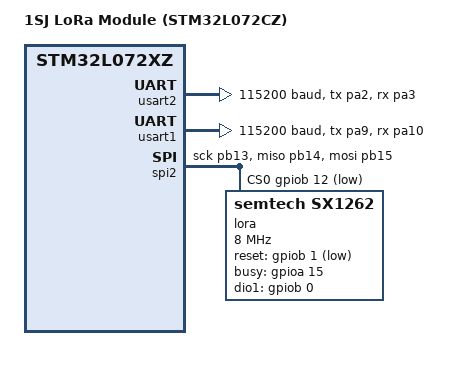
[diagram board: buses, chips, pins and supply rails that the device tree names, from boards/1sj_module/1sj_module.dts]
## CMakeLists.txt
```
cmake_minimum_required(VERSION 3.20.0)

# Expose local boards/ directory as an out-of-tree board root
list(APPEND BOARD_ROOT ${CMAKE_CURRENT_LIST_DIR})

find_package(Zephyr REQUIRED HINTS $ENV{ZEPHYR_BASE})
project(1sj_shell)

target_sources(app PRIVATE
	src/main.c
	src/task_lora.c
	src/task_smp_uart.c
	src/smp_mgmt.c
)
```

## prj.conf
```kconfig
# Shell over UART (PA2=TX, PA3=RX via USART2)
CONFIG_SHELL=y
CONFIG_SHELL_BACKEND_SERIAL=y
CONFIG_SHELL_PROMPT_UART="lora:~$ "

# Kernel log output to shell
CONFIG_LOG=y
CONFIG_LOG_BACKEND_UART=n
CONFIG_LOG_BUFFER_SIZE=512

# Shell RAM budget (STM32L072CZ has only 20 KiB RAM)
CONFIG_SHELL_STACK_SIZE=1536
CONFIG_SHELL_HISTORY_BUFFER=128
CONFIG_SHELL_CMD_BUFF_SIZE=128

# Kernel shell commands (uptime, threads, etc.)
CONFIG_KERNEL_SHELL=y
CONFIG_DEVICE_SHELL=y

# Debug build: debug symbols + debug-friendly optimization (-Og)
CONFIG_DEBUG_OPTIMIZATIONS=y
CONFIG_DEBUG_INFO=y

# SPI bus + LoRa subsystem for SX1262
CONFIG_SPI=y
CONFIG_LORA=y
CONFIG_LORA_LOG_LEVEL_INF=y
CONFIG_LORA_SX126X=y

CONFIG_REBOOT=y

# ── SMP coprocessor interface (USART1: PA9=TX, PA10=RX, 921600 baud) ─────────
# MCUMgr SMP over UART — handles structured commands from the main MCU.
# The chosen node zephyr,uart-mcumgr = &usart1 selects the physical interface.
CONFIG_MCUMGR=y
CONFIG_MCUMGR_LOG_LEVEL_DBG=y
CONFIG_MCUMGR_TRANSPORT_UART=y
# MTU must be <= NETBUF_SIZE + 2; 128 fits in 130-byte headroom
CONFIG_MCUMGR_TRANSPORT_UART_MTU=128
# MCUMGR_TRANSPORT_UART_ASYNC is NOT set — use interrupt-driven mode (matches defconfig)
# Net buf pool: 2 × 128 B = 256 B (default 4 × 384 = 1536 B)
CONFIG_MCUMGR_TRANSPORT_NETBUF_COUNT=2
CONFIG_MCUMGR_TRANSPORT_NETBUF_SIZE=128
CONFIG_NET_BUF=y
CONFIG_BASE64=y
CONFIG_CRC=y
CONFIG_ZCBOR=y
CONFIG_ZCBOR_STOP_ON_ERROR=y
# Built-in OS group: exposes uptime/reset over SMP (optional, ~1 kB flash)
CONFIG_MCUMGR_GRP_OS=y

# ── SMP command notification hooks (task_smp_uart.c) ─────────────────────────
# Enables mgmt_callback_register() and the MGMT_EVT_OP_CMD_RECV event.
CONFIG_MCUMGR_MGMT_NOTIFICATION_HOOKS=y
CONFIG_MCUMGR_SMP_COMMAND_STATUS_HOOKS=y

CONFIG_LORA_LOG_LEVEL_DBG=y
```

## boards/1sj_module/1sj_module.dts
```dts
/*
 * Copyright (c) 2024
 * SPDX-License-Identifier: Apache-2.0
 *
 * 1SJ LoRa Module — STM32L072CZ + SX1262
 * Shell UART: USART2 on PA2 (TX) / PA3 (RX), AF4
 */

/dts-v1/;
#include <st/l0/stm32l072Xz.dtsi>
#include <zephyr/dt-bindings/pinctrl/stm32-pinctrl.h>
#include <zephyr/dt-bindings/input/input-event-codes.h>
#include <zephyr/dt-bindings/lora/sx126x.h>

/ {
	model = "1SJ LoRa Module (STM32L072CZ)";
	compatible = "custom,lora-module-l072cz";

	chosen {
		zephyr,console    = &usart2;
		zephyr,shell-uart = &usart2;
		zephyr,uart-mcumgr = &usart1;   /* SMP coprocessor interface */
		zephyr,sram       = &sram0;
		zephyr,flash      = &flash0;
	};

};

/* ── Clocks ─────────────────────────────────────────────────────── */

&clk_hsi {
	/* 16 MHz internal RC → PLL → 32 MHz system clock */
	status = "okay";
};

&pll {
	div = <2>;
	mul = <4>;
	clocks = <&clk_hsi>;
	status = "okay";
};

&rcc {
	clocks = <&pll>;
	clock-frequency = <DT_FREQ_M(32)>;
	ahb-prescaler = <1>;
	apb1-prescaler = <1>;
	apb2-prescaler = <1>;
};

/* ── Pinctrl (inline — no external pinctrl DTSI required) ───────── */

&pinctrl {
	usart2_tx_pa2: usart2_tx_pa2 {
		pinmux = <STM32_PINMUX('A', 2, AF4)>;
	};
	usart2_rx_pa3: usart2_rx_pa3 {
		pinmux = <STM32_PINMUX('A', 3, AF4)>;
		bias-disable;
	};

	/* USART1: PA9=TX, PA10=RX (AF4 on STM32L072) — SMP coprocessor interface */
	usart1_tx_pa9: usart1_tx_pa9 {
		pinmux = <STM32_PINMUX('A', 9, AF4)>;
	};
	usart1_rx_pa10: usart1_rx_pa10 {
		pinmux = <STM32_PINMUX('A', 10, AF4)>;
		bias-disable;
	};

	/* SPI2: PB13=SCK, PB14=MISO, PB15=MOSI  (AF0 on STM32L072) */
	spi2_sck_pb13: spi2_sck_pb13 {
		pinmux = <STM32_PINMUX('B', 13, AF0)>;
		slew-rate = "very-high-speed";
	};
	spi2_miso_pb14: spi2_miso_pb14 {
		pinmux = <STM32_PINMUX('B', 14, AF0)>;
	};
	spi2_mosi_pb15: spi2_mosi_pb15 {
		pinmux = <STM32_PINMUX('B', 15, AF0)>;
		slew-rate = "very-high-speed";
	};
};

/* ── USART2: shell / console on PA2/PA3 ─────────────────────────── */

&usart2 {
	pinctrl-0 = <&usart2_tx_pa2 &usart2_rx_pa3>;
	pinctrl-names = "default";
	current-speed = <115200>;
	status = "okay";
};

/* ── USART1: SMP coprocessor interface on PA9/PA10 ──────────────── */

&usart1 {
	pinctrl-0 = <&usart1_tx_pa9 &usart1_rx_pa10>;
	pinctrl-names = "default";
	current-speed = <115200>;
	status = "okay";
};

/* ── SPI2: SX1262 LoRa transceiver ──────────────────────────────── */
/*
 * PB12 = NSS (software CS, active-low)
 * PB13 = SCK, PB14 = MISO, PB15 = MOSI
 * All internal — not exposed on module header.
 */

&spi2 {
	pinctrl-0 = <&spi2_sck_pb13 &spi2_miso_pb14 &spi2_mosi_pb15>;
	pinctrl-names = "default";
	cs-gpios = <&gpiob 12 GPIO_ACTIVE_LOW>;
	status = "okay";

	lora: lora@0 {
		compatible = "semtech,sx1262";
		reg = <0>;
		spi-max-frequency = <8000000>;
		reset-gpios = <&gpiob 1 GPIO_ACTIVE_LOW>;
		busy-gpios  = <&gpioa 15 GPIO_ACTIVE_HIGH>;
		dio1-gpios  = <&gpiob 0 GPIO_ACTIVE_HIGH>;
		dio2-tx-enable;
		dio3-tcxo-voltage = <SX126X_DIO3_TCXO_3V3>;
		tcxo-power-startup-delay-ms = <20>;
	};
};

/* ── Flash partitions ────────────────────────────────────────────── */

&flash0 {
	partitions {
		compatible = "fixed-partitions";
		#address-cells = <1>;
		#size-cells = <1>;

		/* 32 KiB NVS storage at end of 192 KiB flash */
		storage_partition: partition@28000 {
			label = "storage";
			reg = <0x00028000 DT_SIZE_K(32)>;
		};
	};
};
```

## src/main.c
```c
#include <zephyr/kernel.h>
#include <zephyr/shell/shell.h>

/* Example custom shell command */
static int cmd_hello(const struct shell *sh, size_t argc, char **argv)
{
	ARG_UNUSED(argc);
	ARG_UNUSED(argv);
	shell_print(sh, "Hello from STM32L072CZ!");
	return 0;
}

SHELL_CMD_REGISTER(hello, NULL, "Print a greeting", cmd_hello);

int main(void)
{
	/* Shell starts automatically via Zephyr kernel on USART2 (PA2/PA3) */
	return 0;
}
```

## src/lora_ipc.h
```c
/*
 * lora_ipc.h — LoRa inter-task message types and queue declarations.
 *
 * task_lora.c owns the LoRa device and defines both queues.
 * task_smp_uart.c is the sole producer of lora_cmd_q and sole consumer
 * of lora_evt_q.
 *
 *   lora_cmd_q  (SMP → LoRa)  LORA_CMD_TX / RX_ENABLE / RX_DISABLE
 *   lora_evt_q  (LoRa → SMP)  LORA_EVT_RX
 */
#pragma once

#include <zephyr/kernel.h>
#include <zephyr/drivers/lora.h>
#include <stdbool.h>
#include <stdint.h>

#define LORA_MAX_PAYLOAD 255

/* ── Commands: SMP → LoRa task ───────────────────────────────────── */

enum lora_cmd_type {
	LORA_CMD_TX,
	LORA_CMD_RX_ENABLE,
	LORA_CMD_RX_DISABLE,
};

/*
 * Synchronisation block for TX commands.  Allocated on the sender's
 * stack; the LoRa task writes rc/bytes_sent then gives the semaphore.
 * The sender must remain blocked on done until the semaphore is given.
 */
struct lora_tx_sync {
	struct k_sem done;
	int          rc;
	uint16_t     bytes_sent;
};

struct lora_cmd_msg {
	enum lora_cmd_type   type;
	uint8_t              tx_data[LORA_MAX_PAYLOAD]; /* LORA_CMD_TX only */
	uint16_t             tx_len;                    /* LORA_CMD_TX only */
	struct lora_tx_sync *tx_sync;                   /* LORA_CMD_TX only */
};

/* ── Events: LoRa task → SMP ─────────────────────────────────────── */

enum lora_evt_type {
	LORA_EVT_RX,
};

struct lora_evt_msg {
	enum lora_evt_type type;
	uint8_t  data[LORA_MAX_PAYLOAD];
	int      len;
	int16_t  rssi;
	int8_t   snr;
};

/* ── Status snapshot ─────────────────────────────────────────────── */

struct lora_status {
	uint32_t frequency;
	uint8_t  datarate;
	uint8_t  bandwidth;
	uint8_t  coding_rate;
	uint16_t preamble_len;
	int8_t   tx_power;
	bool     rx_active;
};

/* ── Queues defined in task_lora.c ───────────────────────────────── */

extern struct k_msgq lora_cmd_q;
extern struct k_msgq lora_evt_q;

/* Returns a consistent snapshot of the current modem config and RX state. */
void lora_get_current_status(struct lora_status *out);
```

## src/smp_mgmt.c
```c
/*
 * smp_mgmt.c — MCUmgr custom group 64 (LORA_SMP_GRP) handlers.
 *
 * The SMP framework opens an outer CBOR map before calling each handler and
 * closes it after.  Handlers must NOT call zcbor_map_start/end_encode — they
 * just emit key-value pairs directly into the already-open map.
 *
 * Command map:
 *   0  READ   get_version  → {version:<str>, board:<str>}
 *   1  READ   get_status   → {freq, sf, bw_khz, cr, preamble, tx_power, rx_active}
 *   2  WRITE  rx_enable    → {rc:<int>}
 *   3  WRITE  rx_disable   → {rc:<int>}
 *   4  WRITE  tx_msg  ←{msg:<str>}  → {rc:<int>, bytes_sent:<uint>}
 */

#include <string.h>
#include <zephyr/kernel.h>
#include <zephyr/logging/log.h>

#include <zephyr/mgmt/mcumgr/mgmt/mgmt.h>
#include <zephyr/mgmt/mcumgr/mgmt/handlers.h>
#include <zephyr/mgmt/mcumgr/smp/smp.h>

#include <zcbor_common.h>
#include <zcbor_decode.h>
#include <zcbor_encode.h>

#include "lora_ipc.h"

LOG_MODULE_REGISTER(smp_mgmt, LOG_LEVEL_DBG);

#define LORA_SMP_GRP  64  /* MGMT_GROUP_ID_PERUSER */

/* ── Helpers ─────────────────────────────────────────────────────── */

static uint16_t bw_enum_to_khz(uint8_t bw)
{
	switch (bw) {
	case BW_125_KHZ: return 125;
	case BW_250_KHZ: return 250;
	case BW_500_KHZ: return 500;
	default:         return 0;
	}
}

/* ── Command 0: get_version (READ) ───────────────────────────────── */

static int cmd_get_version(struct smp_streamer *ctxt)
{
	zcbor_state_t *zse = ctxt->writer->zs;

	/* Framework already opened the outer map; just emit key-value pairs. */
	bool ok = zcbor_tstr_put_lit(zse, "version") &&
		  zcbor_tstr_put_lit(zse, "1.0.0") &&
		  zcbor_tstr_put_lit(zse, "board") &&
		  zcbor_tstr_put_lit(zse, "1sj_module");

	return ok ? MGMT_ERR_EOK : MGMT_ERR_EMSGSIZE;
}

/* ── Command 1: get_status (READ) ────────────────────────────────── */

static int cmd_get_status(struct smp_streamer *ctxt)
{
	zcbor_state_t *zse = ctxt->writer->zs;
	struct lora_status st;

	lora_get_current_status(&st);

	bool ok = zcbor_tstr_put_lit(zse, "freq") &&
		  zcbor_uint32_put(zse, st.frequency) &&
		  zcbor_tstr_put_lit(zse, "sf") &&
		  zcbor_uint32_put(zse, st.datarate) &&
		  zcbor_tstr_put_lit(zse, "bw_khz") &&
		  zcbor_uint32_put(zse, bw_enum_to_khz(st.bandwidth)) &&
		  zcbor_tstr_put_lit(zse, "cr") &&
		  zcbor_uint32_put(zse, (uint32_t)(st.coding_rate + 4)) &&
		  zcbor_tstr_put_lit(zse, "preamble") &&
		  zcbor_uint32_put(zse, st.preamble_len) &&
		  zcbor_tstr_put_lit(zse, "tx_power") &&
		  zcbor_int32_put(zse, st.tx_power) &&
		  zcbor_tstr_put_lit(zse, "rx_active") &&
		  zcbor_bool_put(zse, st.rx_active);

	return ok ? MGMT_ERR_EOK : MGMT_ERR_EMSGSIZE;
}

/* ── Command 2: rx_enable (WRITE) ────────────────────────────────── */

static int cmd_rx_enable(struct smp_streamer *ctxt)
{
	struct lora_cmd_msg cmd = { .type = LORA_CMD_RX_ENABLE };
	int ret = k_msgq_put(&lora_cmd_q, &cmd, K_MSEC(100));

	if (ret != 0) {
		LOG_WRN("rx_enable: lora_cmd_q full (%d)", ret);
	}

	zcbor_state_t *zse = ctxt->writer->zs;
	bool ok = zcbor_tstr_put_lit(zse, "rc") &&
		  zcbor_int32_put(zse, ret);

	return ok ? MGMT_ERR_EOK : MGMT_ERR_EMSGSIZE;
}

/* ── Command 3: rx_disable (WRITE) ──────────────────────────────── */

static int cmd_rx_disable(struct smp_streamer *ctxt)
{
	struct lora_cmd_msg cmd = { .type = LORA_CMD_RX_DISABLE };
	int ret = k_msgq_put(&lora_cmd_q, &cmd, K_MSEC(100));

	if (ret != 0) {
		LOG_WRN("rx_disable: lora_cmd_q full (%d)", ret);
	}

	zcbor_state_t *zse = ctxt->writer->zs;
	bool ok = zcbor_tstr_put_lit(zse, "rc") &&
		  zcbor_int32_put(zse, ret);

	return ok ? MGMT_ERR_EOK : MGMT_ERR_EMSGSIZE;
}

/* ── Command 4: tx_msg (WRITE) ←{msg:<str>} → {rc, bytes_sent} ───── */

static int cmd_tx_msg(struct smp_streamer *ctxt)
{
	zcbor_state_t *zsd = ctxt->reader->zs;
	struct zcbor_string key = {0}, msg_str = {0};
	bool ok;

	/* Decode request {msg: <tstr>}. */
	ok = zcbor_map_start_decode(zsd) &&
	     zcbor_tstr_decode(zsd, &key) &&
	     (key.len == 3 && memcmp(key.value, "msg", 3) == 0) &&
	     zcbor_tstr_decode(zsd, &msg_str);

	if (!ok || msg_str.len == 0) {
		LOG_ERR("tx_msg: failed to decode {msg}");
		return MGMT_ERR_EINVAL;
	}

	zcbor_map_end_decode(zsd);

	uint16_t len = (uint16_t)MIN(msg_str.len, LORA_MAX_PAYLOAD);

	/*
	 * lora_tx_sync lives on this stack frame.  We block on sync.done,
	 * so the frame stays alive until the LoRa task signals completion.
	 */
	struct lora_tx_sync sync;

	k_sem_init(&sync.done, 0, 1);
	sync.rc         = 0;
	sync.bytes_sent = 0;

	struct lora_cmd_msg cmd = {
		.type    = LORA_CMD_TX,
		.tx_len  = len,
		.tx_sync = &sync,
	};
	memcpy(cmd.tx_data, msg_str.value, len);

	int ret = k_msgq_put(&lora_cmd_q, &cmd, K_MSEC(200));

	if (ret != 0) {
		LOG_ERR("tx_msg: lora_cmd_q full (%d)", ret);
	} else {
		/* Block until the LoRa task completes the TX. */
		k_sem_take(&sync.done, K_SECONDS(30));
		ret = sync.rc;
	}

	zcbor_state_t *zse = ctxt->writer->zs;
	bool enc_ok = zcbor_tstr_put_lit(zse, "rc") &&
		      zcbor_int32_put(zse, ret) &&
		      zcbor_tstr_put_lit(zse, "bytes_sent") &&
		      zcbor_uint32_put(zse, (uint32_t)sync.bytes_sent);

	return enc_ok ? MGMT_ERR_EOK : MGMT_ERR_EMSGSIZE;
}

/* ── Handler table ───────────────────────────────────────────────── */

static const struct mgmt_handler lora_smp_handlers[] = {
	[0] = { .mh_read  = cmd_get_version, .mh_write = NULL          },
	[1] = { .mh_read  = cmd_get_status,  .mh_write = NULL          },
	[2] = { .mh_read  = NULL,            .mh_write = cmd_rx_enable  },
	[3] = { .mh_read  = NULL,            .mh_write = cmd_rx_disable },
	[4] = { .mh_read  = NULL,            .mh_write = cmd_tx_msg     },
};

static struct mgmt_group lora_smp_group = {
	.mg_handlers       = lora_smp_handlers,
	.mg_handlers_count = ARRAY_SIZE(lora_smp_handlers),
	.mg_group_id       = LORA_SMP_GRP,
};

int my_mgmt_init(void)
{
	mgmt_register_group(&lora_smp_group);
	LOG_INF("registered MCUmgr group id=%u (%zu commands)",
		lora_smp_group.mg_group_id,
		lora_smp_group.mg_handlers_count);
	return 0;
}
```

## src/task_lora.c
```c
/*
 * task_lora.c — Sole owner of the SX1262 LoRa device.
 *
 * Architecture
 * ────────────
 * A single thread runs a tight loop:
 *   1. Drain lora_cmd_q (non-blocking).
 *   2. If RX is enabled, call lora_recv with a 500 ms timeout.
 *   3. On a successful receive, enqueue an event to lora_evt_q.
 *
 * This gives a worst-case command response latency of ~500 ms, which is
 * acceptable for LoRa data rates.
 *
 * lora_dev_mutex serialises all lora_* API calls between this task and
 * the interactive shell commands below.  Do not use "lora" shell
 * commands concurrently with SMP LoRa RX — the mutex will resolve the
 * conflict but the shell recv will block until the current 500 ms
 * receive cycle finishes.
 *
 * Shell commands (USART2, 115200 baud):
 *   lora status
 *   lora config <freq_hz> <sf:6-12> <bw:125|250|500> <cr:5-8> <preamble> <power_dbm>
 *   lora send <text>
 *   lora recv [timeout_ms]
 *   lora calibrate
 */

#include <stdlib.h>
#include <string.h>
#include <zephyr/kernel.h>
#include <zephyr/device.h>
#include <zephyr/drivers/lora.h>
#include <zephyr/shell/shell.h>
#include <zephyr/logging/log.h>
#include "lora_ipc.h"

/* Forward-declare the LoRaMac-node HAL function to avoid pulling in the
 * full sx126x.h header (which has loramac-node board-level dependencies). */
extern void SX126xCalibrateImage(uint32_t freq);

LOG_MODULE_REGISTER(lora, LOG_LEVEL_DBG);

#define LORA_NODE DT_NODELABEL(lora)
static const struct device *lora_dev = DEVICE_DT_GET(LORA_NODE);

static struct lora_modem_config lora_cfg = {
	.frequency    = 868000000,
	.bandwidth    = BW_125_KHZ,
	.datarate     = SF_10,
	.preamble_len = 8,
	.coding_rate  = CR_4_5,
	.tx_power     = 14,
	.tx           = true,
};

static atomic_t rx_active;

/*
 * Held whenever a lora_* API call is in progress.  Prevents concurrent
 * access between the task thread and shell command handlers.
 */
static K_MUTEX_DEFINE(lora_dev_mutex);

/* ── Message queues ──────────────────────────────────────────────── */

K_MSGQ_DEFINE(lora_cmd_q, sizeof(struct lora_cmd_msg), 2, 4);
K_MSGQ_DEFINE(lora_evt_q, sizeof(struct lora_evt_msg), 2, 4);

/* ── Status accessor ─────────────────────────────────────────────── */

void lora_get_current_status(struct lora_status *out)
{
	k_mutex_lock(&lora_dev_mutex, K_FOREVER);
	out->frequency    = lora_cfg.frequency;
	out->datarate     = (uint8_t)lora_cfg.datarate;
	out->bandwidth    = (uint8_t)lora_cfg.bandwidth;
	out->coding_rate  = (uint8_t)lora_cfg.coding_rate;
	out->preamble_len = lora_cfg.preamble_len;
	out->tx_power     = lora_cfg.tx_power;
	out->rx_active    = atomic_get(&rx_active) != 0;
	k_mutex_unlock(&lora_dev_mutex);
}

/* ── Helpers ─────────────────────────────────────────────────────── */

static const char *bw_str(enum lora_signal_bandwidth bw)
{
	switch (bw) {
	case BW_125_KHZ: return "125";
	case BW_250_KHZ: return "250";
	case BW_500_KHZ: return "500";
	default:         return "?";
	}
}

/* ── Command processing (called from the task thread only) ───────── */

static bool rx_configured; /* true when modem is already set up for RX */

static void process_cmd(struct lora_cmd_msg *cmd)
{
	int ret;

	switch (cmd->type) {
	case LORA_CMD_TX:
		k_mutex_lock(&lora_dev_mutex, K_FOREVER);
		lora_cfg.tx = true;
		ret = lora_config(lora_dev, &lora_cfg);
		if (ret == 0) {
			SX126xCalibrateImage(lora_cfg.frequency);
			k_msleep(100);
			lora_config(lora_dev, &lora_cfg);
			k_msleep(100);

			ret = lora_send(lora_dev, cmd->tx_data, cmd->tx_len);
		}
		k_mutex_unlock(&lora_dev_mutex);

		if (ret == 0) {
			LOG_INF("TX: %u byte(s)", cmd->tx_len);
		} else {
			LOG_ERR("TX failed: %d", ret);
		}

		cmd->tx_sync->rc         = ret;
		cmd->tx_sync->bytes_sent = (ret == 0) ? cmd->tx_len : 0;
		k_sem_give(&cmd->tx_sync->done);
		rx_configured = false; /* modem was switched to TX; re-arm RX next cycle */
		break;

	case LORA_CMD_RX_ENABLE:
		atomic_set(&rx_active, 1);
		rx_configured = false;
		LOG_INF("LoRa RX enabled");
		break;

	case LORA_CMD_RX_DISABLE:
		atomic_set(&rx_active, 0);
		LOG_INF("LoRa RX disabled");
		break;
	}
}

/* ── Main task loop ──────────────────────────────────────────────── */

static void task_lora_entry(void *p1, void *p2, void *p3)
{
	ARG_UNUSED(p1); ARG_UNUSED(p2); ARG_UNUSED(p3);

	if (!device_is_ready(lora_dev)) {
		LOG_ERR("LoRa device not ready");
		return;
	}

	k_mutex_lock(&lora_dev_mutex, K_FOREVER);
	int ret = lora_config(lora_dev, &lora_cfg);
	k_mutex_unlock(&lora_dev_mutex);

	if (ret) {
		LOG_ERR("lora_config failed: %d", ret);
		return;
	}

	LOG_INF("SX1262 ready — %u Hz  SF%u  BW%s kHz  %d dBm",
		lora_cfg.frequency, lora_cfg.datarate,
		bw_str(lora_cfg.bandwidth), lora_cfg.tx_power);

	static uint8_t rx_buf[LORA_MAX_PAYLOAD];

	while (1) {
		/* Always drain the command queue before touching the radio */
		struct lora_cmd_msg cmd;

		while (k_msgq_get(&lora_cmd_q, &cmd, K_NO_WAIT) == 0) {
			process_cmd(&cmd);
		}

		if (!atomic_get(&rx_active)) {
			k_sleep(K_MSEC(10));
			continue;
		}

		/* Configure for RX on first entry or after a TX */
		if (!rx_configured) {
			k_mutex_lock(&lora_dev_mutex, K_FOREVER);
			lora_cfg.tx = false;
			ret = lora_config(lora_dev, &lora_cfg);
			k_mutex_unlock(&lora_dev_mutex);

			if (ret != 0) {
				LOG_ERR("lora_config (RX) failed: %d", ret);
				k_sleep(K_MSEC(100));
				continue;
			}
			rx_configured = true;
			LOG_INF("LoRa RX active — %u Hz SF%u",
				lora_cfg.frequency, lora_cfg.datarate);
		}

		int16_t rssi;
		int8_t  snr;

		/*
		 * 500 ms timeout: short enough to check the command queue
		 * regularly, long enough not to hammer the driver.
		 */
		k_mutex_lock(&lora_dev_mutex, K_FOREVER);
		ret = lora_recv(lora_dev, rx_buf, sizeof(rx_buf),
				K_MSEC(500), &rssi, &snr);
		k_mutex_unlock(&lora_dev_mutex);

		if (ret < 0) {
			if (ret != -EAGAIN) {
				LOG_ERR("lora_recv: %d", ret);
			}
			continue;
		}

		LOG_INF("RX: %d byte(s)  RSSI=%d dBm  SNR=%d dB", ret, rssi, snr);

		struct lora_evt_msg evt = {
			.type = LORA_EVT_RX,
			.len  = ret,
			.rssi = rssi,
			.snr  = snr,
		};
		memcpy(evt.data, rx_buf, ret);

		if (k_msgq_put(&lora_evt_q, &evt, K_NO_WAIT) != 0) {
			LOG_WRN("RX event queue full — packet dropped");
		}
	}
}

K_THREAD_DEFINE(task_lora_tid, 2048,
		task_lora_entry, NULL, NULL, NULL,
		7, 0, 500 /* ms startup delay so shell is up first */);

/* ── Shell commands ──────────────────────────────────────────────── */

static int cmd_lora_status(const struct shell *sh, size_t argc, char **argv)
{
	ARG_UNUSED(argc); ARG_UNUSED(argv);

	shell_print(sh, "Device ready : %s", device_is_ready(lora_dev) ? "yes" : "no");
	shell_print(sh, "RX active    : %s", atomic_get(&rx_active) ? "yes" : "no");
	shell_print(sh, "Frequency    : %u Hz", lora_cfg.frequency);
	shell_print(sh, "Bandwidth    : %s kHz", bw_str(lora_cfg.bandwidth));
	shell_print(sh, "Spreading    : SF%u", lora_cfg.datarate);
	shell_print(sh, "Coding rate  : CR 4/%u", lora_cfg.coding_rate + 4);
	shell_print(sh, "Preamble     : %u symbols", lora_cfg.preamble_len);
	shell_print(sh, "TX power     : %d dBm", lora_cfg.tx_power);
	return 0;
}

/*
 * lora config <freq_hz> <sf> <bw_khz> <cr_denom> <preamble> <power_dbm>
 * Example: lora config 868000000 10 125 5 8 14
 */
static int cmd_lora_config(const struct shell *sh, size_t argc, char **argv)
{
	if (argc < 7) {
		shell_error(sh, "Usage: lora config <freq_hz> <sf:6-12>"
			    " <bw:125|250|500> <cr:5-8> <preamble> <power_dbm>");
		return -EINVAL;
	}

	uint32_t freq  = (uint32_t)strtoul(argv[1], NULL, 10);
	int      sf    = (int)strtoul(argv[2], NULL, 10);
	int      bw    = (int)strtoul(argv[3], NULL, 10);
	int      cr    = (int)strtoul(argv[4], NULL, 10);
	int      pream = (int)strtoul(argv[5], NULL, 10);
	int      pwr   = (int)strtol (argv[6], NULL, 10);

	if (sf < 6 || sf > 12) {
		shell_error(sh, "SF must be 6..12"); return -EINVAL;
	}
	if (bw != 125 && bw != 250 && bw != 500) {
		shell_error(sh, "BW must be 125, 250, or 500"); return -EINVAL;
	}
	if (cr < 5 || cr > 8) {
		shell_error(sh, "CR denominator must be 5..8"); return -EINVAL;
	}

	k_mutex_lock(&lora_dev_mutex, K_FOREVER);
	lora_cfg.frequency    = freq;
	lora_cfg.datarate     = (enum lora_datarate)sf;
	lora_cfg.bandwidth    = (bw == 125) ? BW_125_KHZ
			      : (bw == 250) ? BW_250_KHZ : BW_500_KHZ;
	lora_cfg.coding_rate  = (enum lora_coding_rate)(cr - 4);
	lora_cfg.preamble_len = (uint16_t)pream;
	lora_cfg.tx_power     = (int8_t)pwr;

	int ret = lora_config(lora_dev, &lora_cfg);
	k_mutex_unlock(&lora_dev_mutex);

	if (ret) {
		shell_error(sh, "lora_config failed: %d", ret);
		return ret;
	}
	rx_configured = false; /* force re-arm on next RX cycle */
	shell_print(sh, "Config applied: %u Hz  SF%u  BW%s kHz  CR 4/%u  preamble=%u  %d dBm",
		    lora_cfg.frequency, lora_cfg.datarate,
		    bw_str(lora_cfg.bandwidth), cr, pream, pwr);
	return 0;
}

/* lora send <text> */
static int cmd_lora_send(const struct shell *sh, size_t argc, char **argv)
{
	if (argc < 2) {
		shell_error(sh, "Usage: lora send <text>");
		return -EINVAL;
	}

	k_mutex_lock(&lora_dev_mutex, K_FOREVER);
	lora_cfg.tx = true;
	int ret = lora_config(lora_dev, &lora_cfg);
	if (ret == 0) {
		size_t len = strlen(argv[1]);

		SX126xCalibrateImage(lora_cfg.frequency);
		k_msleep(100);
		lora_config(lora_dev, &lora_cfg);
		k_msleep(100);

		ret = lora_send(lora_dev, (uint8_t *)argv[1], len);
		if (ret == 0) {
			shell_print(sh, "Sent %u byte(s): \"%s\"", (unsigned)len, argv[1]);
		} else {
			shell_error(sh, "lora_send failed: %d", ret);
		}
	} else {
		shell_error(sh, "lora_config failed: %d", ret);
	}
	k_mutex_unlock(&lora_dev_mutex);
	rx_configured = false;
	return ret;
}

/* lora calibrate — run image calibration for the current frequency */
static int cmd_lora_calibrate(const struct shell *sh, size_t argc, char **argv)
{
	ARG_UNUSED(argc); ARG_UNUSED(argv);

	k_mutex_lock(&lora_dev_mutex, K_FOREVER);
	lora_cfg.tx = true;
	int ret = lora_config(lora_dev, &lora_cfg);
	k_mutex_unlock(&lora_dev_mutex);

	if (ret) {
		shell_error(sh, "lora_config failed: %d", ret);
		return ret;
	}

	SX126xCalibrateImage(lora_cfg.frequency);
	shell_print(sh, "Image calibration done for %u Hz", lora_cfg.frequency);
	rx_configured = false;
	return 0;
}

/* lora recv [timeout_ms] — blocks until packet or timeout */
static int cmd_lora_recv(const struct shell *sh, size_t argc, char **argv)
{
	int timeout_ms = (argc >= 2) ? (int)strtoul(argv[1], NULL, 10) : 5000;

	if (atomic_get(&rx_active)) {
		shell_warn(sh, "SMP RX is active; result may be unreliable");
	}

	/* Configure for RX (mutex held only for the config call) */
	k_mutex_lock(&lora_dev_mutex, K_FOREVER);
	lora_cfg.tx = false;
	int ret = lora_config(lora_dev, &lora_cfg);
	k_mutex_unlock(&lora_dev_mutex);

	if (ret) {
		shell_error(sh, "lora_config failed: %d", ret);
		return ret;
	}

	static uint8_t buf[256];
	int16_t rssi;
	int8_t  snr;

	shell_print(sh, "Listening for %d ms...", timeout_ms);

	/*
	 * Mutex is held for the full receive duration to prevent the task
	 * thread from reconfiguring the modem underneath us.
	 */
	k_mutex_lock(&lora_dev_mutex, K_FOREVER);
	ret = lora_recv(lora_dev, buf, sizeof(buf) - 1,
			K_MSEC(timeout_ms), &rssi, &snr);
	k_mutex_unlock(&lora_dev_mutex);

	rx_configured = false;

	if (ret < 0) {
		shell_error(sh, "lora_recv: %d%s", ret,
			    ret == -EAGAIN ? " (timeout)" : "");
		return ret;
	}

	buf[ret] = '\0';
	shell_print(sh, "Received %d byte(s): \"%s\"  RSSI=%d dBm  SNR=%d dB",
		    ret, buf, rssi, snr);
	return 0;
}

SHELL_STATIC_SUBCMD_SET_CREATE(lora_sub,
	SHELL_CMD(status,    NULL,
		  "Show device state and current modem config",
		  cmd_lora_status),
	SHELL_CMD(config,    NULL,
		  "Set modem params: config <freq_hz> <sf> <bw> <cr> <preamble> <power>",
		  cmd_lora_config),
	SHELL_CMD(calibrate, NULL,
		  "Run image calibration for the current frequency",
		  cmd_lora_calibrate),
	SHELL_CMD(send,      NULL,
		  "Transmit a packet: send <text>",
		  cmd_lora_send),
	SHELL_CMD(recv,      NULL,
		  "Receive a packet (blocking): recv [timeout_ms]",
		  cmd_lora_recv),
	SHELL_SUBCMD_SET_END);

SHELL_CMD_REGISTER(lora, &lora_sub, "LoRa transceiver (SX1262)", NULL);
```

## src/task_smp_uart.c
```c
/*
 * task_smp_uart.c — MCUMgr/SMP command observer and LoRa IPC thread.
 *
 * USART1 (PA9=TX, PA10=RX) is driven by the Zephyr uart_mcumgr console
 * driver when CONFIG_MCUMGR_TRANSPORT_UART=y.  That driver installs its own
 * UART IRQ callback, so this task does NOT install a competing one.
 *
 * Instead we use the MCUMgr notification-hook API:
 *   MGMT_EVT_OP_CMD_RECV fires after the transport has decoded and framed
 *   each incoming SMP packet, giving us the command group, id, and opcode.
 *
 * NOTE on payload size: the standard mgmt_evt_op_cmd_arg struct does NOT
 * carry nh_len (SMP header payload length).  To log that field one would need
 * a custom uart_mcumgr receive hook that parses the raw decoded net_buf before
 * dispatch (see uart_mcumgr_register() in uart_mcumgr.h).  For now we log the
 * fields that the callback API exposes.
 *
 * Required prj.conf additions (already set):
 *   CONFIG_MCUMGR_MGMT_NOTIFICATION_HOOKS=y
 *   CONFIG_MCUMGR_SMP_COMMAND_STATUS_HOOKS=y
 */

#include <zephyr/kernel.h>
#include <zephyr/device.h>
#include <zephyr/drivers/uart.h>
#include <zephyr/logging/log.h>
#include <zephyr/mgmt/mcumgr/mgmt/callbacks.h>
#include "lora_ipc.h"

LOG_MODULE_REGISTER(smp_handler, LOG_LEVEL_DBG);

/* USART1 — the SMP coprocessor interface (zephyr,uart-mcumgr in DTS) */
#define SMP_UART_NODE  DT_CHOSEN(zephyr_uart_mcumgr)
static const struct device *smp_uart = DEVICE_DT_GET(SMP_UART_NODE);

extern int my_mgmt_init(void);
/* ── MCUMgr command-receive notification callback ────────────────── */
/*
 * Called from the SMP server work queue after each fully-decoded SMP frame.
 * group  — MGMT_GROUP_ID_OS(0), _IMAGE(1), _FS(8), _SHELL(9), …
 * id     — command index within the group
 * op     — MGMT_OP_READ(0)/MGMT_OP_WRITE(2) (from mgmt_defines.h)
 */
static enum mgmt_cb_return on_smp_cmd_recv(uint32_t event,
					   enum mgmt_cb_return prev_status,
					   int32_t *rc, uint16_t *group,
					   bool *abort_more, void *data,
					   size_t data_size)
{
	ARG_UNUSED(event);
	ARG_UNUSED(prev_status);
	ARG_UNUSED(rc);
	ARG_UNUSED(group);
	ARG_UNUSED(abort_more);

	if (data_size < sizeof(struct mgmt_evt_op_cmd_arg)) {
		return MGMT_CB_OK;
	}

	const struct mgmt_evt_op_cmd_arg *arg = data;

	LOG_DBG("SMP recv: group=0x%04x id=%u op=%u",
		arg->group, arg->id, arg->op);

	return MGMT_CB_OK;
}

static struct mgmt_callback smp_cmd_recv_cb = {
	.callback = on_smp_cmd_recv,
	.event_id = MGMT_EVT_OP_CMD_RECV,
};

/* ── Task thread ──────────────────────────────────────────────────── */

static void task_smp_uart_entry(void *p1, void *p2, void *p3)
{
	ARG_UNUSED(p1);
	ARG_UNUSED(p2);
	ARG_UNUSED(p3);

	if (!device_is_ready(smp_uart)) {
		LOG_ERR("SMP UART %s not ready", smp_uart->name);
		return;
	}
	LOG_INF("SMP UART ready: %s", smp_uart->name);

	/* Register management callback now that the device is confirmed ready */
	mgmt_callback_register(&smp_cmd_recv_cb);
	LOG_INF("SMP CMD_RECV hook registered");
	my_mgmt_init();

	/*
	 * Diagnostic: poll raw bytes from USART1.
	 *
	 * If CONFIG_MCUMGR_TRANSPORT_UART=y initialised correctly,
	 * uart_irq_rx_enable() has been called and the uart_mcumgr ISR
	 * consumes all arriving bytes — uart_poll_in returns -1 immediately
	 * and the loop body never executes.
	 *
	 * If the MCUMgr init failed (smp_transport_init error, net_buf
	 * exhaustion, etc.) the IRQ is NOT armed and uart_poll_in WILL
	 * return bytes here.  Seeing "raw: 0x..." in the log means the
	 * init chain broke and the UART never entered interrupt-driven mode.
	 *
	 * Correct sender framing (SMP-over-UART serial protocol):
	 *   [0x06 0x09] [len_BE16] [base64(smp_hdr+cbor)] [crc16_BE16] [0x0A]
	 * Raw binary SMP frames are silently discarded by the serial parser.
	 */
	unsigned char byte;
	uint32_t raw_count = 0;

	while (uart_poll_in(smp_uart, &byte) == 0) {
		LOG_WRN("raw UART byte (IRQ not armed?): 0x%02x", byte);
		raw_count++;
	}
	if (raw_count == 0) {
		LOG_DBG("uart_poll_in: no bytes — IRQ mode is active (expected)");
	}

	/*
	 * Main loop: drain LoRa events produced by task_lora, and poll
	 * the raw UART as a diagnostic.  If the IRQ handler is active the
	 * uart_poll_in call is a no-op; if it returns bytes the MCUMgr
	 * UART transport never armed its interrupt.
	 */
	while (1) {
		/* ── Raw-byte diagnostic ────────────────────────────────── */
		while (uart_poll_in(smp_uart, &byte) == 0) {
			LOG_WRN("raw rx 0x%02x — MCUMgr IRQ not armed!", byte);
		}

		/* ── LoRa event forwarding ──────────────────────────────── */
		struct lora_evt_msg evt;
		int ret = k_msgq_get(&lora_evt_q, &evt, K_MSEC(100));

		if (ret == 0) {
			LOG_DBG("LoRa evt: type=%d len=%d rssi=%d snr=%d",
				evt.type, evt.len, evt.rssi, evt.snr);
			/* TODO: encode evt as SMP notification and send via
			 * uart_mcumgr_send() */
		}
	}
}

K_THREAD_DEFINE(task_smp_uart_tid, 1024,
		task_smp_uart_entry, NULL, NULL, NULL,
		8, 0, 600 /* ms — start after MCUMgr transport is up */);
```

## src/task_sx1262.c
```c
/*
 * task_sx1262.c — SX1262 LoRa transceiver via Zephyr LoRa API
 *
 * DT node  : lora: lora@0 on spi2 (compatible = "semtech,sx1262")
 * Shell cmds:
 *   lora status
 *   lora config <freq_hz> <sf:6-12> <bw:125|250|500> <cr:5-8> <preamble> <power_dbm>
 *   lora send <text>
 *   lora recv [timeout_ms]
 */

#include <stdlib.h>
#include <string.h>
#include <zephyr/kernel.h>
#include <zephyr/device.h>
#include <zephyr/drivers/lora.h>
#include <zephyr/shell/shell.h>
#include <zephyr/logging/log.h>

/* Forward-declare the LoRaMac-node HAL function to avoid pulling in the full
 * sx126x.h header (which has loramac-node board-level dependencies). */
extern void SX126xCalibrateImage(uint32_t freq);

LOG_MODULE_REGISTER(sx1262, LOG_LEVEL_DBG);

#define LORA_NODE DT_NODELABEL(lora)

static const struct device *lora_dev = DEVICE_DT_GET(LORA_NODE);

/* Working modem config — modified by "lora config" command */
static struct lora_modem_config lora_cfg = {
	.frequency    = 868000000,   /* 868 MHz */
	.bandwidth    = BW_125_KHZ,
	.datarate     = SF_10,
	.preamble_len = 8,
	.coding_rate  = CR_4_5,
	.tx_power     = 14,          /* dBm */
	.tx           = true,
};

/* ── Helpers ─────────────────────────────────────────────────────── */

static const char *bw_str(enum lora_signal_bandwidth bw)
{
	switch (bw) {
	case BW_125_KHZ: return "125";
	case BW_250_KHZ: return "250";
	case BW_500_KHZ: return "500";
	default:         return "?";
	}
}

/* Apply lora_cfg with the requested tx/rx direction. */
static int apply_config(bool tx, const struct shell *sh)
{
	lora_cfg.tx = tx;
	int ret = lora_config(lora_dev, &lora_cfg);
	if (ret && sh) {
		shell_error(sh, "lora_config failed: %d", ret);
	}
	return ret;
}

/* ── Startup thread ──────────────────────────────────────────────── */

static void task_sx1262_entry(void *p1, void *p2, void *p3)
{
	ARG_UNUSED(p1);
	ARG_UNUSED(p2);
	ARG_UNUSED(p3);

	if (!device_is_ready(lora_dev)) {
		LOG_ERR("LoRa device %s not ready", lora_dev->name);
		return;
	}

	int ret = lora_config(lora_dev, &lora_cfg);
	if (ret) {
		LOG_ERR("lora_config failed: %d", ret);
		return;
	}

	LOG_INF("SX1262 ready — %u Hz  SF%u  BW%s kHz  %d dBm",
		lora_cfg.frequency, lora_cfg.datarate,
		bw_str(lora_cfg.bandwidth), lora_cfg.tx_power);

	while (1) {
		k_sleep(K_SECONDS(10));
	}
}

K_THREAD_DEFINE(task_sx1262, 1536,
		task_sx1262_entry, NULL, NULL, NULL,
		7, 0, 500 /* ms delay so shell is up first */);

/* ── Shell commands ──────────────────────────────────────────────── */

static int cmd_lora_status(const struct shell *sh, size_t argc, char **argv)
{
	ARG_UNUSED(argc);
	ARG_UNUSED(argv);

	shell_print(sh, "Device ready : %s", device_is_ready(lora_dev) ? "yes" : "no");
	shell_print(sh, "Frequency    : %u Hz", lora_cfg.frequency);
	shell_print(sh, "Bandwidth    : %s kHz", bw_str(lora_cfg.bandwidth));
	shell_print(sh, "Spreading    : SF%u", lora_cfg.datarate);
	shell_print(sh, "Coding rate  : CR 4/%u", lora_cfg.coding_rate + 4);
	shell_print(sh, "Preamble     : %u symbols", lora_cfg.preamble_len);
	shell_print(sh, "TX power     : %d dBm", lora_cfg.tx_power);
	return 0;
}

/*
 * lora config <freq_hz> <sf> <bw_khz> <cr_denom> <preamble> <power_dbm>
 * Example: lora config 868000000 10 125 5 8 14
 */
static int cmd_lora_config(const struct shell *sh, size_t argc, char **argv)
{
	if (argc < 7) {
		shell_error(sh, "Usage: lora config <freq_hz> <sf:6-12>"
			    " <bw:125|250|500> <cr:5-8> <preamble> <power_dbm>");
		return -EINVAL;
	}

	uint32_t freq  = (uint32_t)strtoul(argv[1], NULL, 10);
	int      sf    = (int)strtoul(argv[2], NULL, 10);
	int      bw    = (int)strtoul(argv[3], NULL, 10);
	int      cr    = (int)strtoul(argv[4], NULL, 10);
	int      pream = (int)strtoul(argv[5], NULL, 10);
	int      pwr   = (int)strtol (argv[6], NULL, 10);

	if (sf < 6 || sf > 12) {
		shell_error(sh, "SF must be 6..12"); return -EINVAL;
	}
	if (bw != 125 && bw != 250 && bw != 500) {
		shell_error(sh, "BW must be 125, 250, or 500"); return -EINVAL;
	}
	if (cr < 5 || cr > 8) {
		shell_error(sh, "CR denominator must be 5..8"); return -EINVAL;
	}

	lora_cfg.frequency    = freq;
	lora_cfg.datarate     = (enum lora_datarate)sf; /* SF_6=6 .. SF_12=12 */
	lora_cfg.bandwidth    = (bw == 125) ? BW_125_KHZ
			      : (bw == 250) ? BW_250_KHZ : BW_500_KHZ;
	lora_cfg.coding_rate  = (enum lora_coding_rate)(cr - 4); /* CR_4_5=1..CR_4_8=4 */
	lora_cfg.preamble_len = (uint16_t)pream;
	lora_cfg.tx_power     = (int8_t)pwr;

	int ret = lora_config(lora_dev, &lora_cfg);
	if (ret) {
		shell_error(sh, "lora_config failed: %d", ret);
		return ret;
	}
	shell_print(sh, "Config applied: %u Hz  SF%u  BW%s kHz  CR 4/%u  preamble=%u  %d dBm",
		    lora_cfg.frequency, lora_cfg.datarate,
		    bw_str(lora_cfg.bandwidth), cr, pream, pwr);
	return 0;
}

/* lora send <text> */
static int cmd_lora_send(const struct shell *sh, size_t argc, char **argv)
{
	if (argc < 2) {
		shell_error(sh, "Usage: lora send <text>");
		return -EINVAL;
	}

	int ret = apply_config(true, sh);
	if (ret) {
		return ret;
	}

	size_t len = strlen(argv[1]);
	ret = lora_send(lora_dev, (uint8_t *)argv[1], len);
	if (ret) {
		shell_error(sh, "lora_send failed: %d", ret);
		return ret;
	}
	shell_print(sh, "Sent %u byte(s): \"%s\"", (unsigned)len, argv[1]);
	return 0;
}

/* lora calibrate — run image calibration for the current frequency */
static int cmd_lora_calibrate(const struct shell *sh, size_t argc, char **argv)
{
	ARG_UNUSED(argc);
	ARG_UNUSED(argv);

	/* Wake modem and apply current config so the chip is in standby */
	int ret = apply_config(true, sh);
	if (ret) {
		return ret;
	}

	SX126xCalibrateImage(lora_cfg.frequency);
	shell_print(sh, "Image calibration done for %u Hz", lora_cfg.frequency);
	return 0;
}

/* lora recv [timeout_ms]  — blocks until packet or timeout */
static int cmd_lora_recv(const struct shell *sh, size_t argc, char **argv)
{
	int timeout_ms = (argc >= 2) ? (int)strtoul(argv[1], NULL, 10) : 5000;

	int ret = apply_config(false, sh);
	if (ret) {
		return ret;
	}

	static uint8_t buf[256];
	int16_t rssi;
	int8_t  snr;

	shell_print(sh, "Listening for %d ms...", timeout_ms);
	ret = lora_recv(lora_dev, buf, sizeof(buf) - 1, K_MSEC(timeout_ms), &rssi, &snr);
	if (ret < 0) {
		shell_error(sh, "lora_recv: %d%s", ret,
			    ret == -EAGAIN ? " (timeout)" : "");
		return ret;
	}

	buf[ret] = '\0';
	shell_print(sh, "Received %d byte(s): \"%s\"  RSSI=%d dBm  SNR=%d dB",
		    ret, buf, rssi, snr);
	return 0;
}

SHELL_STATIC_SUBCMD_SET_CREATE(lora_sub,
	SHELL_CMD(status, NULL,
		  "Show device state and current modem config",
		  cmd_lora_status),
	SHELL_CMD(config, NULL,
		  "Set modem params: config <freq_hz> <sf> <bw> <cr> <preamble> <power>",
		  cmd_lora_config),
	SHELL_CMD(calibrate, NULL,
		  "Run image calibration for the current frequency",
		  cmd_lora_calibrate),
	SHELL_CMD(send, NULL,
		  "Transmit a packet: send <text>",
		  cmd_lora_send),
	SHELL_CMD(recv, NULL,
		  "Receive a packet (blocking): recv [timeout_ms]",
		  cmd_lora_recv),
	SHELL_SUBCMD_SET_END);

SHELL_CMD_REGISTER(lora, &lora_sub, "LoRa transceiver (SX1262)", NULL);
```
